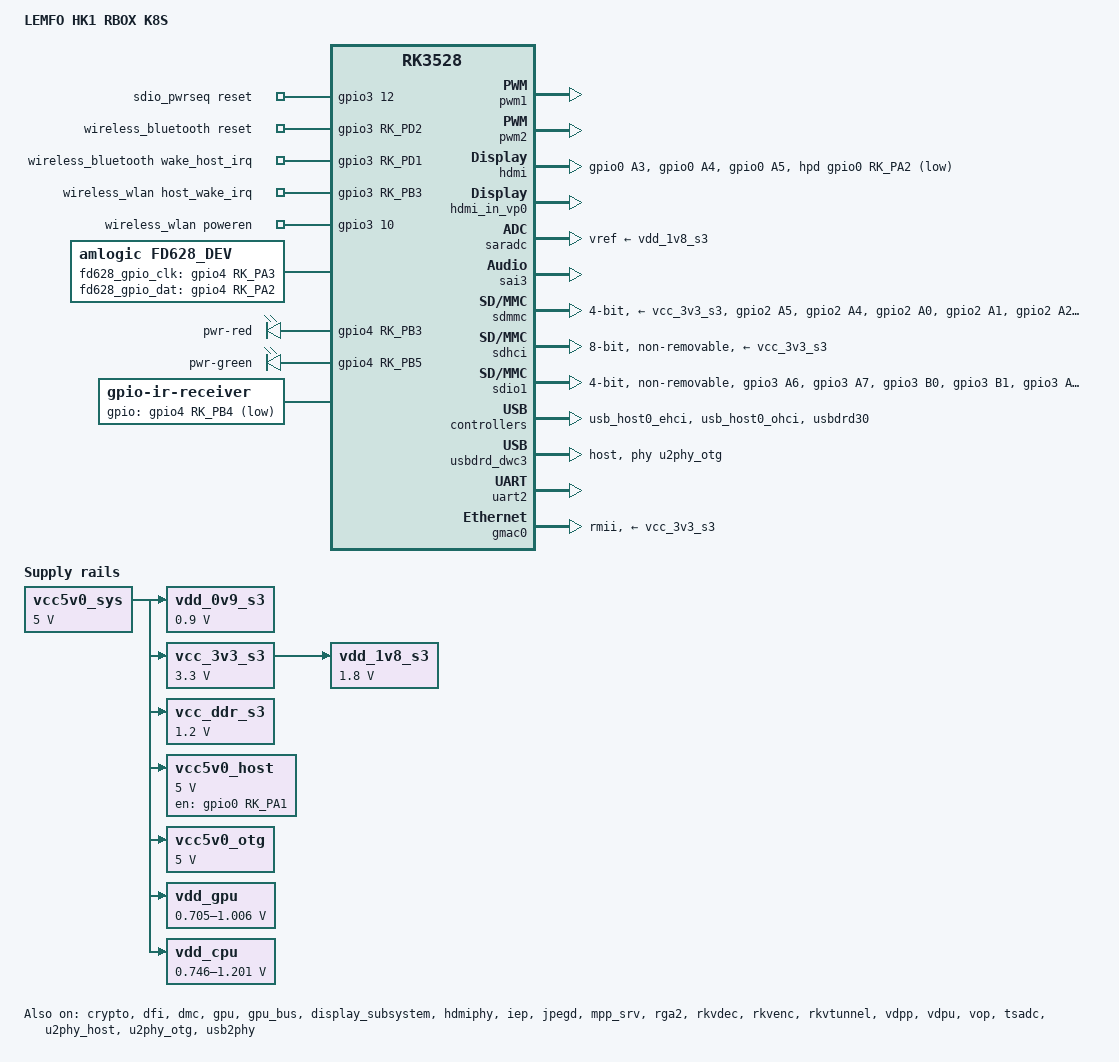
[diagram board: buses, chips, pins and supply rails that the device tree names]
// SPDX-License-Identifier: (GPL-2.0+ OR MIT)
/*
 * Copyright (c) 2022 Rockchip Electronics Co., Ltd.
 * Copyright (c) 2025 Adapted for LEMFO HK1 RBOX K8S
 *
 * Based on Radxa Rock 2F
 */

/dts-v1/;

#include <dt-bindings/clock/rk3528-cru.h>
#include <dt-bindings/gpio/gpio.h>
#include <dt-bindings/input/rk-input.h>
#include <dt-bindings/pinctrl/rockchip.h>
#include "rk3528.dtsi"
#include "rk3528-linux.dtsi"

/ {
	model = "LEMFO HK1 RBOX K8S";
	compatible = "lemfo,hk1-k8s", "rockchip,rk3528";

	/delete-node/ chosen;

	aliases {
		mmc0 = &sdhci;  /* eMMC */
		mmc1 = &sdmmc;  /* SD card */
		mmc2 = &sdio1;  /* SDIO WiFi - RTL8822CS at ffc20000 */
	};

	vcc5v0_sys: vcc5v0-sys {
		compatible = "regulator-fixed";
		regulator-name = "vcc5v0_sys";
		regulator-always-on;
		regulator-boot-on;
		regulator-min-microvolt = <5000000>;
		regulator-max-microvolt = <5000000>;
	};

	vdd_0v9_s3: vdd-0v9-s3 {
		compatible = "regulator-fixed";
		regulator-name = "vdd_0v9_s3";
		regulator-always-on;
		regulator-boot-on;
		regulator-min-microvolt = <900000>;
		regulator-max-microvolt = <900000>;
		vin-supply = <&vcc5v0_sys>;
	};

	vcc_3v3_s3: vcc-3v3-s3 {
		compatible = "regulator-fixed";
		regulator-name = "vcc_3v3_s3";
		regulator-always-on;
		regulator-boot-on;
		regulator-min-microvolt = <3300000>;
		regulator-max-microvolt = <3300000>;
		vin-supply = <&vcc5v0_sys>;
	};

	vdd_1v8_s3: vdd-1v8-s3 {
		compatible = "regulator-fixed";
		regulator-name = "vdd_1v8_s3";
		regulator-always-on;
		regulator-boot-on;
		regulator-min-microvolt = <1800000>;
		regulator-max-microvolt = <1800000>;
		vin-supply = <&vcc_3v3_s3>;
	};

	vcc_ddr_s3: vcc-ddr-s3 {
		compatible = "regulator-fixed";
		regulator-name = "vcc_ddr_s3";
		regulator-always-on;
		regulator-boot-on;
		regulator-min-microvolt = <1200000>;
		regulator-max-microvolt = <1200000>;
		vin-supply = <&vcc5v0_sys>;
	};

	/* RTL8822CS WiFi/BT power sequence - SDIO ID: C8A1:0082 */
	sdio_pwrseq: sdio-pwrseq {
		compatible = "mmc-pwrseq-simple";
		pinctrl-names = "default";
		pinctrl-0 = <&clkm0_32k_out>;  /* 32kHz clock for WiFi - Android verified */
		post-power-on-delay-ms = <100>;
		power-off-delay-us = <500000>;
		reset-gpios = <&gpio3 12 GPIO_ACTIVE_HIGH>; /* GPIO3 pin 12 - WiFi reset - Android verified */
	};

	/* RTL8822CS Bluetooth */
	wireless_bluetooth: wireless-bluetooth {
		compatible = "bluetooth-platdata";
		pinctrl-names = "default";
		pinctrl-0 = <&bt_pins>; /* GPIO pins for reset/wake */
		/* NOTE: uart_rts_gpios removed - UART2 driver manages RTS pin exclusively
		   Bluetooth driver does NOT need to control RTS state transitions */
		BT,reset_gpio = <&gpio3 RK_PD2 GPIO_ACTIVE_HIGH>; /* GPIO3_D2 (GPIO 114) - Android verified */
		BT,wake_host_irq = <&gpio3 RK_PD1 GPIO_ACTIVE_HIGH>; /* GPIO3_D1 (GPIO 113) - Android verified */
		/* UART interface for Bluetooth */
		uart_port_id = <2>; /* Use UART2 */
		status = "okay";
	};

	/* RTL8822CS WiFi platform data */
	wireless_wlan: wireless-wlan {
		compatible = "wlan-platdata";
		rockchip,grf = <&grf>;
		wifi_chip_type = "rtl8822cs";
		pinctrl-names = "default";
		pinctrl-0 = <&wifi_pins>;
		/* Clock references - WiFi driver expects ref_wifi_clk */
		clocks = <&cru CCLK_SRC_SDIO1>, <&cru HCLK_SDIO1>;
		clock-names = "ref_wifi_clk", "iface_clk";
		WIFI,host_wake_irq = <&gpio3 RK_PB3 GPIO_ACTIVE_HIGH>; /* GPIO3_PB3 */
		WIFI,poweren_gpio = <&gpio3 10 GPIO_ACTIVE_HIGH>; /* GPIO3 pin 10 - WiFi power enable - Android verified */
		status = "okay";
	};

	/* USB Host power */
	vcc5v0_host: vcc5v0-host-regulator {
		compatible = "regulator-fixed";
		regulator-name = "vcc5v0_host";
		regulator-boot-on;
		regulator-always-on;
		regulator-min-microvolt = <5000000>;
		regulator-max-microvolt = <5000000>;
		enable-active-high;
		gpio = <&gpio0 RK_PA1 GPIO_ACTIVE_HIGH>;
		vin-supply = <&vcc5v0_sys>;
		pinctrl-names = "default";
		pinctrl-0 = <&vcc5v0_host_en>;
	};

	vcc5v0_otg: vcc5v0-otg-regulator {
		compatible = "regulator-fixed";
		regulator-name = "vcc5v0_otg";
		regulator-min-microvolt = <5000000>;
		regulator-max-microvolt = <5000000>;
		vin-supply = <&vcc5v0_sys>;
	};

	/* FD628 LED Display Controller */
	fd628_dev: fd628-dev {
		compatible = "amlogic,fd628_dev";
		fd628_gpio_clk = <&gpio4 RK_PA3 GPIO_ACTIVE_HIGH>;
		fd628_gpio_dat = <&gpio4 RK_PA2 GPIO_ACTIVE_HIGH>;
		status = "okay";
	};

	/* GPU and Logic voltage - PWM controlled */
	vdd_gpu: vdd_logic: vdd-logic {
		compatible = "pwm-regulator";
		pwms = <&pwm2 0 5000 1>;
		regulator-name = "vdd_logic";
		regulator-min-microvolt = <705000>;
		regulator-max-microvolt = <1006000>;
		regulator-init-microvolt = <900000>;
		regulator-always-on;
		regulator-boot-on;
		regulator-settling-time-up-us = <250>;
		pwm-supply = <&vcc5v0_sys>;
		status = "okay";
	};

	/* CPU voltage - PWM controlled */
	vdd_cpu: vdd-cpu {
		compatible = "pwm-regulator";
		pwms = <&pwm1 0 5000 1>;
		regulator-name = "vdd_cpu";
		regulator-min-microvolt = <746000>;
		regulator-max-microvolt = <1201000>;
		regulator-init-microvolt = <953000>;
		regulator-always-on;
		regulator-boot-on;
		regulator-settling-time-up-us = <250>;
		pwm-supply = <&vcc5v0_sys>;
		status = "okay";
	};

	/* Audio Codec Sound - analog audio output (3.5mm jack) - DISABLED: no 3.5mm jack */
	acodec_sound: acodec-sound {
		status = "disabled";
		compatible = "simple-audio-card";
		simple-audio-card,format = "i2s";
		simple-audio-card,mclk-fs = <256>;
		simple-audio-card,name = "rk3528-acodec";
		simple-audio-card,cpu {
			sound-dai = <&sai1>;
		};
		simple-audio-card,codec {
			sound-dai = <&acodec>;
		};
	};

	/* HDMI Sound */
	hdmi_sound: hdmi-sound {
		status = "okay";
		compatible = "simple-audio-card";
		simple-audio-card,format = "i2s";
		simple-audio-card,mclk-fs = <128>;
		simple-audio-card,name = "rockchip-hdmi0";
		simple-audio-card,cpu {
			sound-dai = <&sai3>;
		};
		simple-audio-card,codec {
			sound-dai = <&hdmi>;
		};
	};

	/* Front Panel LEDs - 7-segment display control */
	gpio_leds: gpio-leds {
		compatible = "gpio-leds";

		pwr-red {
			gpios = <&gpio4 RK_PB3 GPIO_ACTIVE_HIGH>;
			linux,default-trigger = "none";
			default-state = "off";
			retain-state-suspended;
			retain-state-shutdown;
		};

		pwr-green {
			gpios = <&gpio4 RK_PB5 GPIO_ACTIVE_HIGH>;
			linux,default-trigger = "none";
			default-state = "on";
			retain-state-suspended;
			retain-state-shutdown;
		};
	};

	/* IR Receiver */
	ir-receiver {
		compatible = "gpio-ir-receiver";
		gpios = <&gpio4 RK_PB4 GPIO_ACTIVE_LOW>;
		linux,rc-map-name = "rc-beelink-gs1";
	};

};

&pwm1 {
	status = "okay";
};

&pwm2 {
	status = "okay";
};

/* PWM3 - not used for IR receiver anymore */
&pwm3 {
	status = "disabled";
};

&cpu0 {
	cpu-supply = <&vdd_cpu>;
};

&crypto {
	status = "okay";
};

&dfi {
	status = "okay";
};

&dmc {
	center-supply = <&vdd_logic>;
	status = "okay";
};

&gpu {
	mali-supply = <&vdd_gpu>;
	status = "okay";
};

&gpu_bus {
	bus-supply = <&vdd_logic>;
	/* OPP table requires pvtm regulator which is not available - remove to avoid warnings */
	status = "okay";
};

&display_subsystem {
	status = "okay";
};

&hdmi {
	status = "okay";
	/* Android configuration - CEC and proper DDC timing for EDID */
	cec-enable;
	ddc-i2c-scl-high-time-ns = <9625>;
	ddc-i2c-scl-low-time-ns = <10000>;
	/* HDMI power supplies - critical for display output */
	avdd-0v9-supply = <&vdd_0v9_s3>;
	avdd-1v8-supply = <&vdd_1v8_s3>;
	/* HDMI Hot Plug Detect GPIO - required for monitor detection */
	hpd-gpios = <&gpio0 RK_PA2 GPIO_ACTIVE_LOW>;
	/* HDMI pinctrl for DDC and CEC */
	pinctrl-names = "default", "sleep";
	pinctrl-0 = <&hdmi_pins>;
	pinctrl-1 = <&hdmi_pins_idle>;
};

&hdmi_in_vp0 {
	status = "okay";
};

&hdmiphy {
	status = "okay";
	/* HDMI PHY power supply - required for HDMI output */
	phy-supply = <&vcc5v0_host>;
};

&tve {
	status = "disabled";
};

&tve_in_vp1 {
	status = "disabled";
};

&iep {
	status = "okay";
};

&iep_mmu {
	status = "okay";
};

&jpegd {
	status = "okay";
};

&jpegd_mmu {
	status = "okay";
};

&mpp_srv {
	status = "okay";
};

&rga2 {
	status = "okay";
};

&rga2_mmu {
	status = "okay";
};

&rkvdec {
	status = "okay";
};

&rkvdec_mmu {
	status = "okay";
};

&rkvenc {
	status = "okay";
};

&rkvenc_mmu {
	status = "okay";
};

&rkvtunnel {
	status = "okay";
};

&rockchip_suspend {
	status = "okay";
	rockchip,sleep-debug-en = <1>;
	rockchip,virtual-poweroff = <1>;
	rockchip,sleep-mode-config = <
		(0
		| RKPM_SLP_ARMPD
		)
	>;
	rockchip,wakeup-config = <
		(0
		| RKPM_CPU0_WKUP_EN
		| RKPM_GPIO_WKUP_EN
		)
	>;
	rockchip,pwm-regulator-config = <
		(0
		| RKPM_PWM0_M0_REGULATOR_EN
		| RKPM_PWM1_M0_REGULATOR_EN
		)
	>;
};

&vdpp {
	status = "okay";
};

&vdpu {
	status = "okay";
};

&vdpu_mmu {
	status = "okay";
};

&vop {
	status = "okay";
};

&vop_mmu {
	status = "okay";
};

&tsadc {
	status = "okay";
};

&saradc {
	status = "okay";
	vref-supply = <&vdd_1v8_s3>;
};

/* Audio Codec - internal analog codec - DISABLED: no 3.5mm jack */
&acodec {
	status = "disabled";
	#sound-dai-cells = <0>;
};

/* I2S Audio Interface for acodec - DISABLED: no 3.5mm jack */
&sai1 {
	status = "disabled";
	#sound-dai-cells = <0>;
};

/* I2S Audio Interface for HDMI */
&sai3 {
	status = "okay";
	#sound-dai-cells = <0>;
};

/* SD Card - following Android DTB configuration */
&sdmmc {
	bus-width = <4>;
	cap-mmc-highspeed;
	cap-sd-highspeed;
	disable-wp;
	max-frequency = <150000000>;
	pinctrl-names = "default", "sleep";
	pinctrl-0 = <&sdmmc_clk &sdmmc_cmd &sdmmc_bus4>;
	pinctrl-1 = <&sdmmc_clk &sdmmc_cmd &sdmmc_bus4>;
	supports-sd;
	card-detect-delay = <500>;
	vmmc-supply = <&vcc_3v3_s3>;
	status = "okay";
};

/* eMMC */
&sdhci {
	bus-width = <8>;
	no-sd;
	no-sdio;
	non-removable;
	mmc-hs400-1_8v;
	mmc-hs400-enhanced-strobe;
	max-frequency = <200000000>;
	pinctrl-names = "default", "sleep";
	pinctrl-0 = <&emmc_bus8 &emmc_clk &emmc_cmd &emmc_strb>;
	pinctrl-1 = <&emmc_bus8 &emmc_clk &emmc_cmd &emmc_strb>;
	vmmc-supply = <&vcc_3v3_s3>;
	vqmmc-supply = <&vdd_1v8_s3>;
	status = "okay";
};

/* SDIO0 - not used, disable it */
&sdio0 {
	status = "disabled";
};

/* RTL8822CS WiFi + BT on SDIO1 (ffc20000) - SDIO_ID: C8A1:0082 */
&sdio1 {
	bus-width = <4>;
	cap-sd-highspeed;
	cap-sdio-irq;
	disable-wp;
	keep-power-in-suspend;
	/* Reduced from 150MHz to 100MHz for stable initialization */
	max-frequency = <100000000>;
	mmc-pwrseq = <&sdio_pwrseq>;
	no-sd;
	no-mmc;
	non-removable;
	supports-sdio;
	sd-uhs-sdr12;
	sd-uhs-sdr25;
	sd-uhs-sdr50;
	/* Disable UHS modes that may cause tuning issues - use basic HS only */
	/*sd-uhs-ddr50;
	sd-uhs-sdr104;*/
	pinctrl-names = "default", "sleep";
	pinctrl-0 = <&sdio1_bus4 &sdio1_cmd &sdio1_clk>;
	pinctrl-1 = <&sdio1_bus4 &sdio1_cmd &sdio1_clk>;
	/* Clock configuration for SDIO1 WiFi interface - required for WiFi chip initialization */
	clocks = <&cru HCLK_SDIO1>, <&cru CCLK_SRC_SDIO1>, <&grf_cru SCLK_SDIO1_DRV>, <&grf_cru SCLK_SDIO1_SAMPLE>;
	clock-names = "biu", "ciu", "ciu-drive", "ciu-sample";
	post-power-on-delay-ms = <100>;
	status = "okay";
};

&u2phy_host {
	phy-supply = <&vcc5v0_host>;
	status = "okay";
};

&u2phy_otg {
	vbus-supply = <&vcc5v0_otg>;
	status = "okay";
};

&usb2phy {
	status = "okay";
};

&usb_host0_ehci {
	status = "okay";
};

&usb_host0_ohci {
	status = "okay";
};

&usbdrd30 {
	status = "okay";
};

&usbdrd_dwc3 {
	dr_mode = "host";
	extcon = <&usb2phy>;
	phys = <&u2phy_otg>;
	phy-names = "usb2-phy";
	maximum-speed = "high-speed";
	snps,dis_u2_susphy_quirk;
	snps,usb2-lpm-disable;
	status = "okay";
};

/* UART2 for Bluetooth (AIC8800D80) */
&uart2 {
	status = "okay";
	pinctrl-names = "default";
	pinctrl-0 = <&uart2m0_xfer &uart2m0_ctsn &uart2m0_rtsn>;
	dma-names = "!tx", "!rx";
};

/* Integrated 100Mbps Ethernet - uses built-in MACPHY from rk3528.dtsi */
&gmac0 {
	status = "okay";
	phy-mode = "rmii";
	clock_in_out = "input";
	tx_delay = <0x2e>;
	rx_delay = <0x11>;
	/* Ethernet PHY power supply */
	phy-supply = <&vcc_3v3_s3>;
};

&gmac1 {
	status = "disabled";
};

&pinctrl {
	usb {
		vcc5v0_host_en: vcc5v0-host-en {
			rockchip,pins = <0 RK_PA1 RK_FUNC_GPIO &pcfg_pull_none>;
		};
	};

	hdmi {
		/* HDMI pinctrl - DDC and CEC pins */
		hdmi_pins: hdmi-pins {
			rockchip,pins =
				/* hdmi_tx_cec */
				<0 RK_PA3 1 &pcfg_pull_none>,
				/* hdmi_tx_scl */
				<0 RK_PA4 1 &pcfg_pull_none>,
				/* hdmi_tx_sda */
				<0 RK_PA5 1 &pcfg_pull_none>;
		};

		/* HDMI idle state - DDC and CEC pins */
		hdmi_pins_idle: hdmi-pins-idle {
			rockchip,pins =
				/* hdmi_tx_cec */
				<0 RK_PA3 1 &pcfg_pull_none>,
				/* hdmi_tx_scl */
				<0 RK_PA4 0 &pcfg_output_low_pull_down>,
				/* hdmi_tx_sda */
				<0 RK_PA5 0 &pcfg_output_low_pull_down>;
		};
	};

	wifi {
		/* Combined WiFi pinctrl moved to wifi_rtl8822cs section below */
	};

	bluetooth {
		/* Bluetooth GPIO configuration - reset and wake_host only */
		bt_pins: bt-pins {
			rockchip,pins =
				<3 RK_PD2 RK_FUNC_GPIO &pcfg_pull_none>,  /* BT reset (GPIO3_D2) */
				<3 RK_PD1 RK_FUNC_GPIO &pcfg_pull_down>;  /* BT wake_host (GPIO3_D1) */
		};

		/* Legacy nodes for compatibility */
		bt_reset: bt-reset {
			rockchip,pins = <3 RK_PD2 RK_FUNC_GPIO &pcfg_pull_none>;
		};

		bt_wake_host: bt-wake-host {
			rockchip,pins = <3 RK_PD1 RK_FUNC_GPIO &pcfg_pull_down>;
		};

		uart2m0_gpios: uart2m0-gpios {
			rockchip,pins = <3 RK_PA2 RK_FUNC_GPIO &pcfg_pull_none>;
		};
	};

	wifi_rtl8822cs {
		/* Combined pinctrl for WiFi */
		wifi_pins: wifi-pins {
			rockchip,pins =
				<3 10 RK_FUNC_GPIO &pcfg_pull_none>,  /* WiFi power enable (GPIO3 pin 10) */
				<3 12 RK_FUNC_GPIO &pcfg_pull_none>,  /* WiFi reset (GPIO3 pin 12) */
				<3 RK_PB3 RK_FUNC_GPIO &pcfg_pull_down>;   /* WiFi host_wake (GPIO3_PB3) */
		};
	};

	sdmmc {
		sdmmc_bus4: sdmmc-bus4 {
			rockchip,pins =
				/* sdmmc_d0 */
				<2 RK_PA0 1 &pcfg_pull_up_drv_level_2>,
				/* sdmmc_d1 */
				<2 RK_PA1 1 &pcfg_pull_up_drv_level_2>,
				/* sdmmc_d2 */
				<2 RK_PA2 1 &pcfg_pull_up_drv_level_2>,
				/* sdmmc_d3 */
				<2 RK_PA3 1 &pcfg_pull_up_drv_level_2>;
		};

		sdmmc_clk: sdmmc-clk {
			rockchip,pins =
				/* sdmmc_clk */
				<2 RK_PA5 1 &pcfg_pull_up_drv_level_2>;
		};

		sdmmc_cmd: sdmmc-cmd {
			rockchip,pins =
				/* sdmmc_cmd */
				<2 RK_PA4 1 &pcfg_pull_up_drv_level_2>;
		};
	};

	sdio1 {
		sdio1_bus4: sdio1-bus4 {
			rockchip,pins =
				/* sdio1_d0 */
				<3 RK_PA6 1 &pcfg_pull_up_drv_level_2>,
				/* sdio1_d1 */
				<3 RK_PA7 1 &pcfg_pull_up_drv_level_2>,
				/* sdio1_d2 */
				<3 RK_PB0 1 &pcfg_pull_up_drv_level_2>,
				/* sdio1_d3 */
				<3 RK_PB1 1 &pcfg_pull_up_drv_level_2>;
		};

		sdio1_clk: sdio1-clk {
			rockchip,pins =
				/* sdio1_clk */
				<3 RK_PA4 1 &pcfg_pull_up_drv_level_2>;
		};

		sdio1_cmd: sdio1-cmd {
			rockchip,pins =
				/* sdio1_cmd */
				<3 RK_PA5 1 &pcfg_pull_up_drv_level_2>;
		};
	};

};
